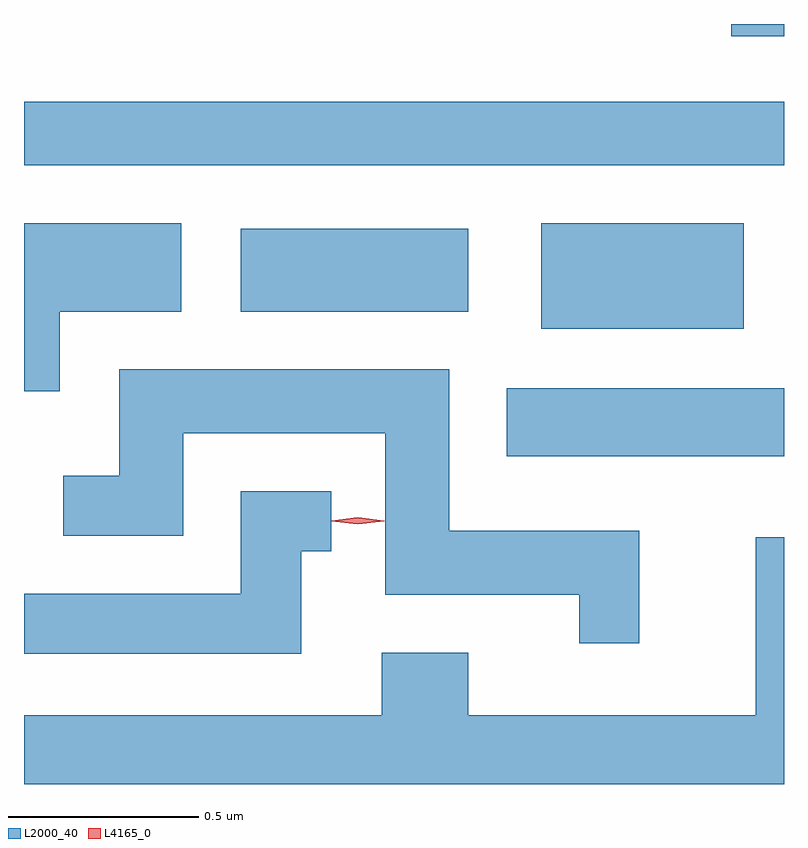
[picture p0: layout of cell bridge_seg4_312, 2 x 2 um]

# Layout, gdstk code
import gdstk
lib = gdstk.Library(unit=1e-6, precision=1e-09)
def R(c, l, rs):  # rectangles x0, y0, x1, y1
    for r in rs: c.add(gdstk.rectangle(r[:2], r[2:], *l))
def P(c, l, *ps):  # polygons
    for p in ps: c.add(gdstk.Polygon(p, *l))
L2000_40 = (2000, 40)
L4165_0 = (4165, 0)

bridge_seg4_312 = lib.new_cell('bridge_seg4_312')
R(bridge_seg4_312, L2000_40, [(505.721,1271.266,506.45,1271.444), (505.811,1271.601,506.344,1271.879), (505.021,1271.646,505.619,1271.864), (504.45,1272.031,506.45,1272.199), (506.311,1272.371,506.45,1272.403)])
P(bridge_seg4_312, L2000_40, [(504.544,1271.646),(504.864,1271.646),(504.864,1271.879),(504.45,1271.879),(504.45,1271.436),(504.544,1271.436)],
  [(506.069,1271.069),(505.569,1271.069),(505.569,1271.494),(504.701,1271.494),(504.701,1271.214),(504.553,1271.214),(504.553,1271.056),(504.869,1271.056),(504.869,1271.326),(505.401,1271.326),(505.401,1270.901),(505.911,1270.901),(505.911,1270.773),(506.069,1270.773)],
  [(505.179,1271.016),(505.258,1271.016),(505.258,1271.174),(505.021,1271.174),(505.021,1270.904),(504.45,1270.904),(504.45,1270.746),(505.179,1270.746)],
  [(506.45,1271.053),(506.376,1271.053),(506.376,1270.584),(505.619,1270.584),(505.619,1270.749),(505.391,1270.749),(505.391,1270.584),(504.45,1270.584),(504.45,1270.403),(506.45,1270.403)])
P(bridge_seg4_312, L4165_0, [(505.328,1271.086),(505.259,1271.094),(505.259,1271.095),(505.259,1271.096),(505.328,1271.105),(505.398,1271.096),(505.398,1271.096),(505.398,1271.095)])

lib.write_gds('bridge_seg4_312.gds')
